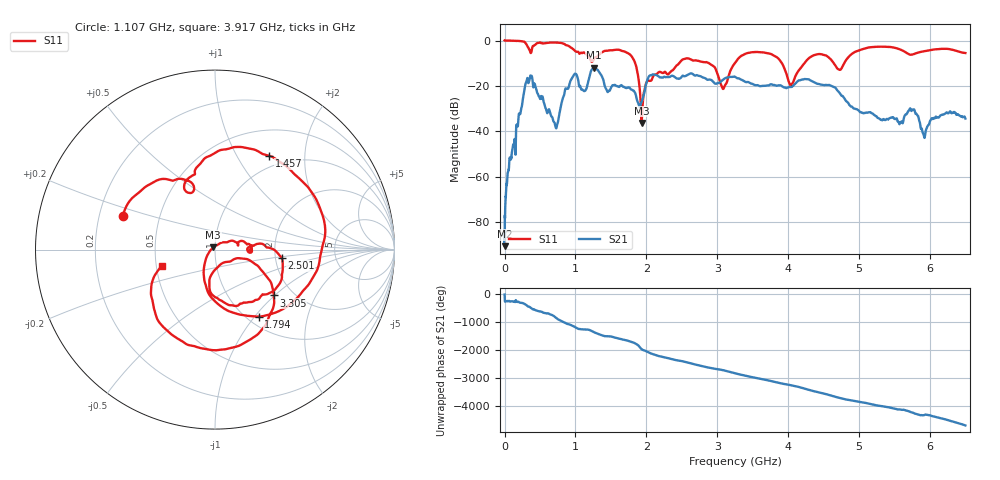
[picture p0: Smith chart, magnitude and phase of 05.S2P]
!Keysight Technologies,E5063A,MY54503115,A.05.08
!Date: Wed Nov 22 13:44:13 2023
!Data & Calibration Information:
!Freq	S11:NONE(--)	S21:NONE(--)	S12:NONE(--)	S22:NONE(--)
# Hz S dB R 50
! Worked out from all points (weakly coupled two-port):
!   10001 points, 100 kHz to 6.5 GHz, reference 50 ohm
!   highest |S21| = -11.85 dB at 1.255 GHz (marker M1); lowest = -90.5 dB at 1.4 MHz (marker M2)
!   lowest |S11| = -36.3 dB at 1.933 GHz (marker M3), VSWR 1.03, Z = 49 + j1.16 ohm
!   |S11| at or under -10 dB: 1.843 GHz to 2.462 GHz (619.5 MHz wide, 28.8 % of centre); 2.884 GHz to 3.246 GHz (362 MHz wide, 11.8 % of centre); 3.913 GHz to 4.23 GHz (317.1 MHz wide, 7.79 % of centre) (the widest 3 of 4)
!   S12 and S22 are empty: the file has one direction only
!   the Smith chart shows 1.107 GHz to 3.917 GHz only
!   S11 on the Smith chart (normalised r, x): 1.107 GHz: 0.30, +0.16; 1.457 GHz: 0.84, +1.38; 1.794 GHz: 1.12, -1.05; 2.501 GHz: 2.16, -0.23; 3.305 GHz: 1.60, -0.99; 3.917 GHz: 0.54, -0.10
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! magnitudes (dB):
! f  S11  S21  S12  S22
! 100 kHz  0.0  -89.0  -  -
! 1.4 MHz  0.0  -90.5  -  -
! 68.35 MHz  0.0  -52.2  -  -
! 332.2 MHz  -3.0  -18.2  -  -
! 720.3 MHz  -0.9  -38.2  -  -
! 966.6 MHz  -3.8  -15.6  -  -
! 1.084 GHz  -5.4  -21.6  -  -
! 1.107 GHz  -5.2  -21.9  -  -
! 1.255 GHz  -8.4  -11.9  -  -
! 1.457 GHz  -4.4  -22.6  -  -
! 1.794 GHz  -7.0  -21.6  -  -
! 1.933 GHz  -36.3  -27.0  -  -
! 2.167 GHz  -14.1  -15.6  -  -
! 2.501 GHz  -8.5  -15.8  -  -
! 3.083 GHz  -21.3  -17.2  -  -
! 3.25 GHz  -9.8  -15.9  -  -
! 3.305 GHz  -7.6  -16.7  -  -
! 3.917 GHz  -10.2  -20.2  -  -
! 4.044 GHz  -19.5  -20.4  -  -
! 4.334 GHz  -6.9  -17.8  -  -
! 5.417 GHz  -2.8  -34.5  -  -
! 6.5 GHz  -5.5  -34.3  -  -
